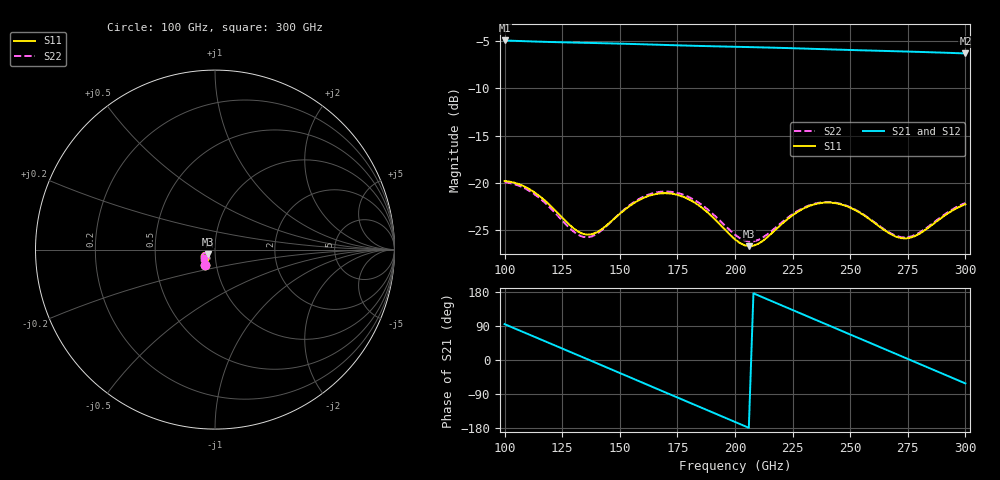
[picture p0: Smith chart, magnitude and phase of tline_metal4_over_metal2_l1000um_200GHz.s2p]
#  GHZ S DB R 50
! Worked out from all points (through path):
!   101 points, 100 GHz to 300 GHz, reference 50 ohm
!   highest |S21| = -4.93 dB at 100 GHz (marker M1); lowest = -6.3 dB at 300 GHz (marker M2)
!   group delay of S21, straight-line fit = 7.17 ps
!   lowest |S11| = -26.7 dB at 206 GHz (marker M3), VSWR 1.10, Z = 46.2 - j2.28 ohm
!   |S11| at or under -10 dB: start of sweep to end of sweep
!   |S22| runs from -26.2 to -20.0 dB; largest |S21 - S12| = 9.4e-14
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100  -19.83 -122.9  -4.93 94.6  -4.93 94.6  -19.96 -123.2
108  -20.33 -134.7  -5.00 74.0  -5.00 74.0  -20.50 -135.0
116  -21.58 -144.1  -5.06 53.4  -5.06 53.4  -21.80 -144.2
126  -23.94 -147.2  -5.13 27.7  -5.13 27.7  -24.27 -146.6
134  -25.42 -138.4  -5.17 7.1  -5.17 7.1  -25.74 -136.4
142  -24.96 -126.3  -5.22 -13.6  -5.22 -13.6  -25.07 -123.4
150  -23.30 -123.0  -5.27 -34.3  -5.27 -34.3  -23.25 -120.4
160  -21.64 -130.1  -5.33 -60.2  -5.33 -60.2  -21.51 -127.9
168  -21.12 -139.8  -5.39 -80.9  -5.39 -80.9  -20.95 -137.8
182  -22.04 -156.8  -5.49 -117.0  -5.49 -117.0  -21.78 -154.9
192  -24.06 -162.9  -5.55 -142.8  -5.55 -142.8  -23.68 -161.2
200  -26.01 -158.1  -5.60 -163.4  -5.60 -163.4  -25.51 -157.4
206  -26.73 -147.7  -5.63 -178.9  -5.63 -178.9  -26.23 -148.2
218  -24.90 -132.2  -5.70 150.0  -5.70 150.0  -24.68 -133.7
234  -22.32 -140.8  -5.82 108.6  -5.82 108.6  -22.26 -141.4
242  -22.12 -149.2  -5.88 88.0  -5.88 88.0  -22.07 -149.5
250  -22.64 -156.8  -5.94 67.3  -5.94 67.3  -22.59 -156.8
260  -24.15 -161.2  -6.01 41.5  -6.01 41.5  -24.09 -161.0
268  -25.51 -156.9  -6.06 20.9  -6.06 20.9  -25.42 -156.5
276  -25.84 -146.3  -6.11 0.2  -6.11 0.2  -25.73 -145.9
284  -24.76 -138.5  -6.17 -20.5  -6.17 -20.5  -24.64 -138.1
300  -22.29 -143.6  -6.30 -61.8  -6.30 -61.8  -22.16 -143.0
